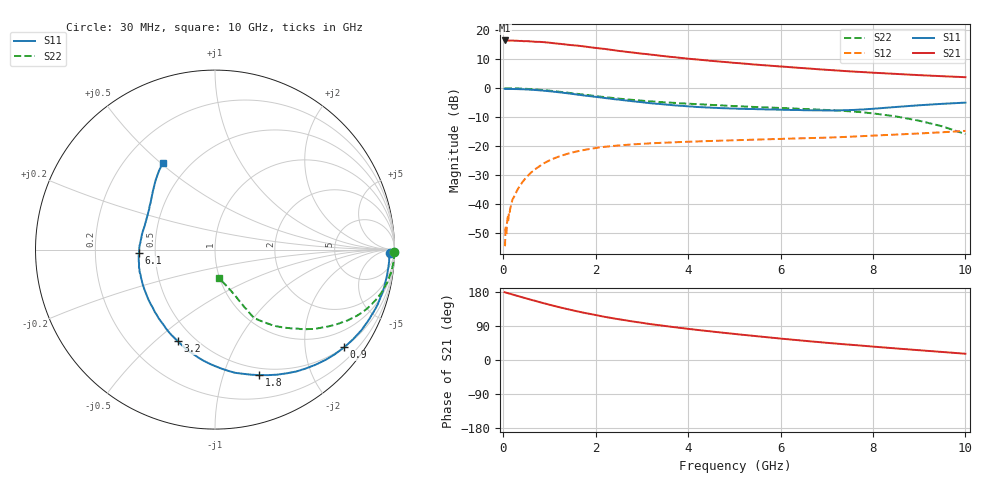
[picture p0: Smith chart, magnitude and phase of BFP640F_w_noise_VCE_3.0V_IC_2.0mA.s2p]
! Infineon Technologies  Discrete & RF Semiconductors
! BFP640F
! VCE =  3.0 V,  IC =  2.0 mA
! Common Emitter S-Parameters:  Apr 2013
# GHz  S  MA  R  50
!  f  S11  S21  S12  S22
! GHz  MAG  ANG  MAG  ANG  MAG  ANG  MAG  ANG
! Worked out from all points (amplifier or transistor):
!   99 points, 30 MHz to 10 GHz, reference 50 ohm
!   highest |S21| = 16.5 dB at 30 MHz (marker M1)
!   |S21| within 3 dB of that: start of sweep to 2.233 GHz
!   unconditionally stable (mu >= 1): 5.664 GHz to end of sweep
!   at 350 MHz: K = 0.00, MSG = 25.1 dB, |S12| = -33.9 dB
!   at 3.5 GHz: K = 0.69, MSG = 14.9 dB, |S12| = -18.8 dB
!   at 10 GHz: K = 1.22, MAG = 6.4 dB, |S12| = -14.7 dB
!   lowest NFmin = 0.46 dB at 450 MHz
!   S11 on the Smith chart (normalised r, x): 30 MHz: 46, -36; 900 MHz: 0.49, -2.90; 1.8 GHz: 0.43, -1.32; 3.2 GHz: 0.41, -0.59; 6.1 GHz: 0.40, -0.02; 10 GHz: 0.36, +0.51
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0.03  0.9736 -1.2  6.648 178.9  0.0019 83.3  0.9993 -0.7
0.04  0.9741 -1.7  6.444 178.6  0.002 88.0  0.9988 -0.8
0.05  0.9747 -2.2  6.58 178.4  0.0042 85.8  1 -1.1
0.07  0.9715 -2.8  6.548 177.4  0.0029 98.8  0.9993 -1.5
0.08  0.972 -3.4  6.558 177.1  0.0046 78.7  0.9985 -1.8
0.1  0.9716 -4.2  6.596 176.5  0.0061 84.0  0.9979 -2.2
0.2  0.9694 -8.3  6.611 173.0  0.0121 85.9  0.9953 -4.5
0.5  0.9515 -20.7  6.484 162.5  0.0291 80.0  0.9752 -11.1
0.9  0.9028 -37.1  6.189 149.1  0.0519 70.7  0.9236 -19.4
1.3  0.8337 -52.6  5.734 136.8  0.0705 61.2  0.8536 -26.6
1.7  0.7588 -67.2  5.307 125.8  0.0849 53.4  0.7825 -32.5
1.8  0.7413 -70.6  5.184 123.3  0.0878 51.7  0.766 -33.9
2.2  0.678 -84.1  4.749 113.8  0.0979 45.4  0.7032 -39.0
2.5  0.6362 -92.8  4.391 107.6  0.1032 41.8  0.662 -42.0
3.2  0.5503 -112.3  3.787 94.5  0.1126 35.4  0.593 -47.4
3.4  0.5332 -117.3  3.626 91.4  0.1145 34.0  0.5777 -48.7
4.2  0.4747 -136.8  3.125 79.4  0.1211 30.1  0.532 -52.5
5.1  0.4426 -157.2  2.701 67.5  0.1275 27.1  0.4892 -55.9
6.1  0.4247 -177.2  2.342 55.4  0.1346 25.1  0.4537 -59.0
6.7  0.4154 170.5  2.159 48.6  0.1388 24.5  0.4324 -60.4
8.5  0.4752 136.7  1.763 30.5  0.159 23.6  0.3264 -64.2
10  0.5646 121.0  1.548 16.5  0.184 21.2  0.1623 -81.4
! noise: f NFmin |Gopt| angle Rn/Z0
0.45  0.46  0.63  10  0.28
0.9  0.57  0.59  22  0.27
1.5  0.67  0.58  31  0.27
1.9  0.72  0.54  46  0.26
2.4  0.8  0.51  62  0.26
3.5  0.94  0.43  82  0.25
5.5  1.26  0.36  145  0.24
10  2.23  0.53  -110  0.45
